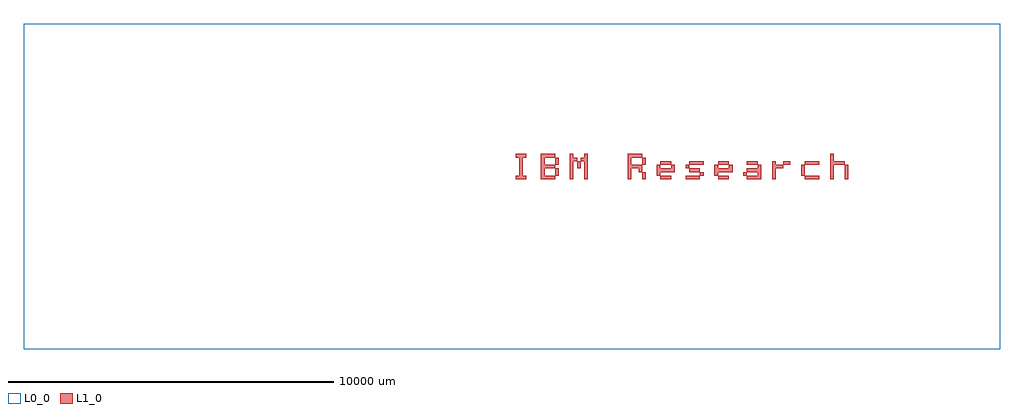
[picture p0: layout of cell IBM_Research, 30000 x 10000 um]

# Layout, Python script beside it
import gdspy

# Define the library and cell for the GDS layout
lib = gdspy.GdsLibrary()
cell = lib.new_cell('IBM_Research')

# Define the rectangle dimensions
rect_width = 30e3  # Convert 30 mm to microns
rect_height = 10e3  # Convert 10 mm to microns

# Create the rectangle on layer 0
rect = gdspy.Rectangle((0, 0), (rect_width, rect_height), layer=0)
cell.add(rect)

# Define the text
text = "IBM Research"
text_size = 1000  # Text size in microns
text_position = (rect_width / 2, rect_height / 2)  # Center of the rectangle

# Create the text on layer 1
text = gdspy.Text(text, text_size, text_position, layer=1)
cell.add(text)

# Save the design to a GDS file
lib.write_gds('ibm_research.gds')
